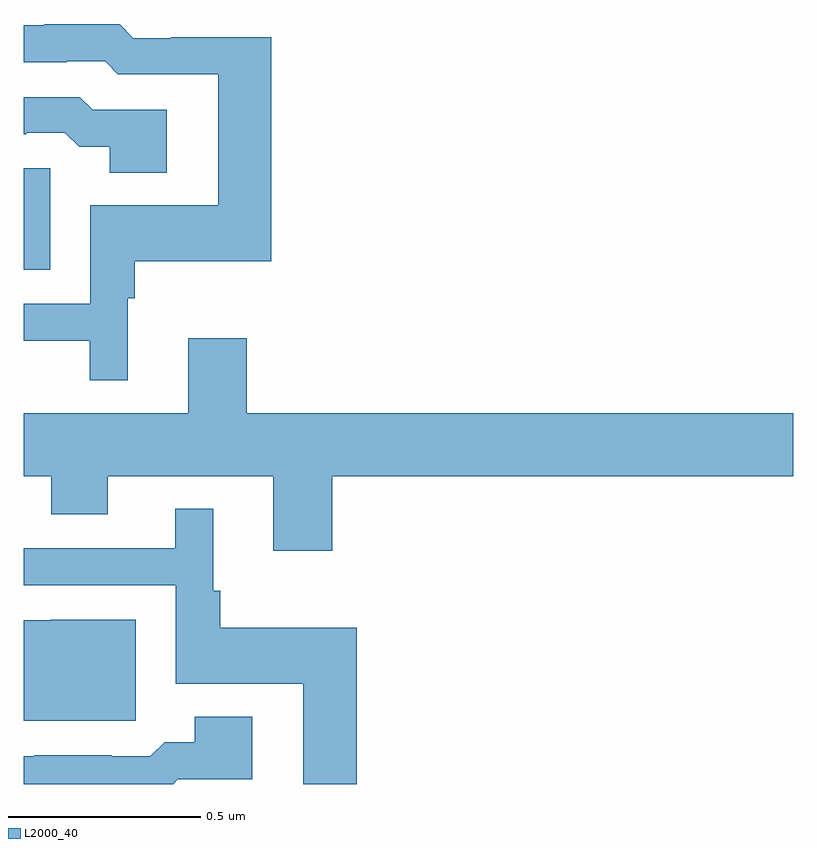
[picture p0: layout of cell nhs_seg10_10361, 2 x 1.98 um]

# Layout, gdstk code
import gdstk
lib = gdstk.Library(unit=1e-6, precision=1e-09)
def R(c, l, rs):  # rectangles x0, y0, x1, y1
    for r in rs: c.add(gdstk.rectangle(r[:2], r[2:], *l))
def P(c, l, *ps):  # polygons
    for p in ps: c.add(gdstk.Polygon(p, *l))
L2000_40 = (2000, 40)

nhs_seg10_10361 = lib.new_cell('nhs_seg10_10361')
R(nhs_seg10_10361, L2000_40, [(241,1316.837,241.069,1317.1)])
P(nhs_seg10_10361, L2000_40, [(241.27,1316.762),(241.289,1316.762),(241.289,1316.858),(241.643,1316.858),(241.643,1317.441),(241.384,1317.441),(241.384,1317.438),(241.285,1317.438),(241.249,1317.475),(241.054,1317.475),(241.054,1317.472),(241,1317.472),(241,1317.375),(241.112,1317.375),(241.112,1317.378),(241.212,1317.378),(241.245,1317.345),(241.505,1317.345),(241.505,1317.004),(241.173,1317.004),(241.173,1316.748),(241,1316.748),(241,1316.652),(241.172,1316.652),(241.172,1316.549),(241.27,1316.549)],
  [(241.372,1317.252),(241.179,1317.252),(241.146,1317.285),(241,1317.285),(241,1317.189),(241.007,1317.189),(241.007,1317.192),(241.107,1317.192),(241.144,1317.156),(241.223,1317.156),(241.223,1317.089),(241.372,1317.089)],
  [(241.427,1316.659),(241.427,1316.464),(241,1316.464),(241,1316.3),(241.072,1316.3),(241.072,1316.201),(241.219,1316.201),(241.219,1316.3),(241.649,1316.3),(241.649,1316.106),(241.802,1316.106),(241.802,1316.3),(243,1316.3),(243,1316.464),(241.58,1316.464),(241.58,1316.659)],
  [(241.865,1315.906),(241.511,1315.906),(241.511,1316.002),(241.492,1316.002),(241.492,1316.215),(241.394,1316.215),(241.394,1316.112),(241,1316.112),(241,1316.016),(241.395,1316.016),(241.395,1315.76),(241.727,1315.76),(241.727,1315.5),(241.865,1315.5)],
  [(241.291,1315.927),(241.069,1315.927),(241.069,1315.926),(241,1315.926),(241,1315.664),(241.291,1315.664)],
  [(241.401,1315.512),(241.594,1315.512),(241.594,1315.675),(241.445,1315.675),(241.445,1315.609),(241.366,1315.609),(241.329,1315.572),(241.229,1315.572),(241.229,1315.575),(241.027,1315.575),(241.027,1315.572),(241,1315.572),(241,1315.5),(241.389,1315.5)])

lib.write_gds('nhs_seg10_10361.gds')
